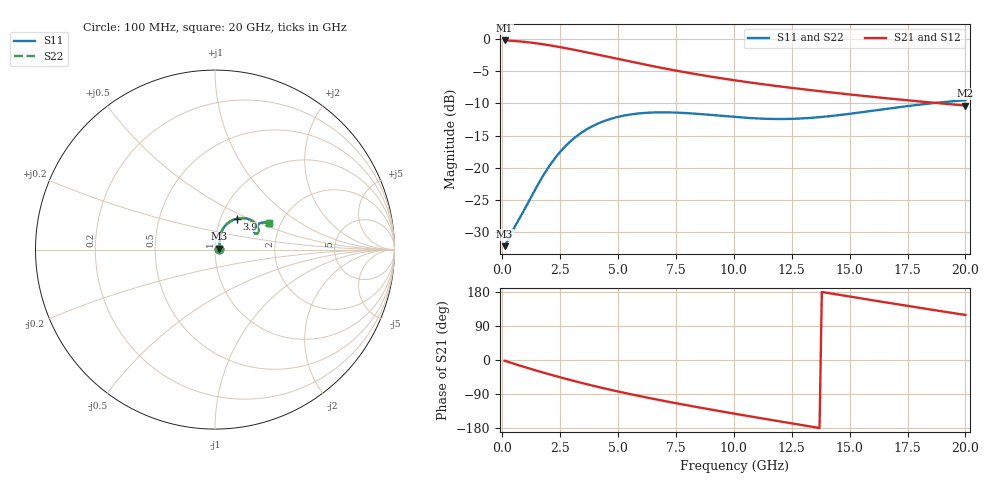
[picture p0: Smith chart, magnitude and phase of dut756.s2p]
! Touchstone file exported from HFSS 2024.1.0
!  File:  C:/UserFiles/LocalFiles/RDL_TSV_Batchsim/temp_RDL_TSV_756_1779899004.aedt
!  Generated:  12:41:06 AM May 28, 2026
!  Design:  RDL_TSV
!  Project:  temp_RDL_TSV_756_1779899004
!  Setup:  Setup1
!  Solution:  Sweep
! Variables:
!  dtsv = 8.73um
!  hbump = 3um
!  htsv = 70.52um
!  ldown = 610um
!  lrdl = 447.73um
!  p = 40
!  p1 = 45.89um
!  rhole = 10um
!  subl = 3620.92um
!  t = 450um
!  tdown = 3.44um
!  trdl = 2.13um
!  viad = 10um
!  wdown = 17.23um
!  wrdl = 23.75um
!  xbump = 18um
# GHz S MA R 50.000000
! Terminal data exported
! Port[1] = TM1_1_T1
! Port[2] = TM1_4_T1
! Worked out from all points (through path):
!   200 points, 100 MHz to 20 GHz, reference 50 ohm
!   highest |S21| = -0.21 dB at 100 MHz (marker M1); lowest = -10.3 dB at 20 GHz (marker M2)
!   group delay of S21, straight-line fit = 31.8 ps
!   lowest |S11| = -32.2 dB at 100 MHz (marker M3), VSWR 1.05, Z = 52.5 + j0.507 ohm
!   |S11| at or under -10 dB: start of sweep to 18.5 GHz
!   |S22| runs from -32.2 to -9.6 dB; largest |S21 - S12| = 2.9e-14
!   S11 on the Smith chart (normalised r, x): 100 MHz: 1.05, +0.01; 3.9 GHz: 1.19, +0.43; 20 GHz: 1.74, +0.58
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0.1  0.02454 11.4  0.9757 -2.0  0.9757 -2.0  0.02454 11.4
! Gamma 0 0 0 0
! Port Impedance 50 0 50 0
0.5  0.03381 38.8  0.9672 -9.9  0.9672 -9.9  0.03382 38.8
0.9  0.04529 54.6  0.9537 -17.4  0.9537 -17.4  0.04531 54.5
1.4  0.06662 66.6  0.9311 -26.7  0.9311 -26.7  0.06659 66.5
1.8  0.08894 70.1  0.9092 -33.8  0.9092 -33.8  0.08886 70.0
2.2  0.1138 69.9  0.885 -40.7  0.885 -40.7  0.1136 69.8
2.6  0.1392 67.6  0.8592 -47.4  0.8592 -47.4  0.139 67.5
3  0.1637 64.1  0.8326 -53.8  0.8326 -53.8  0.1634 64.0
3.5  0.1915 59.1  0.7987 -61.6  0.7987 -61.6  0.1911 59.0
3.9  0.2107 54.9  0.7717 -67.6  0.7717 -67.6  0.2102 54.8
4.6  0.2373 47.7  0.7257 -77.6  0.7257 -77.6  0.2367 47.6
5.3  0.2551 41.1  0.6823 -87.1  0.6823 -87.1  0.2545 41.0
6  0.2653 35.4  0.6422 -96.1  0.6422 -96.1  0.2646 35.3
6.8  0.2694 30.0  0.601 -105.8  0.601 -105.8  0.2687 29.9
8.4  0.2625 23.0  0.5323 -124.1  0.5323 -124.1  0.2618 22.9
10.1  0.2475 20.9  0.4763 -142.4  0.4763 -142.4  0.2468 20.8
11.7  0.2393 23.0  0.435 -159.1  0.435 -159.1  0.2386 22.8
13.4  0.2446 27.0  0.3994 -176.4  0.3994 -176.4  0.2437 26.8
15.1  0.2638 29.9  0.3695 166.5  0.3695 166.5  0.2628 29.7
16.7  0.2885 30.4  0.3452 150.7  0.3452 150.7  0.2873 30.2
18.3  0.3133 29.0  0.3239 135.1  0.3239 135.1  0.3118 28.8
20  0.3348 26.1  0.3042 118.9  0.3042 118.9  0.3329 25.9
